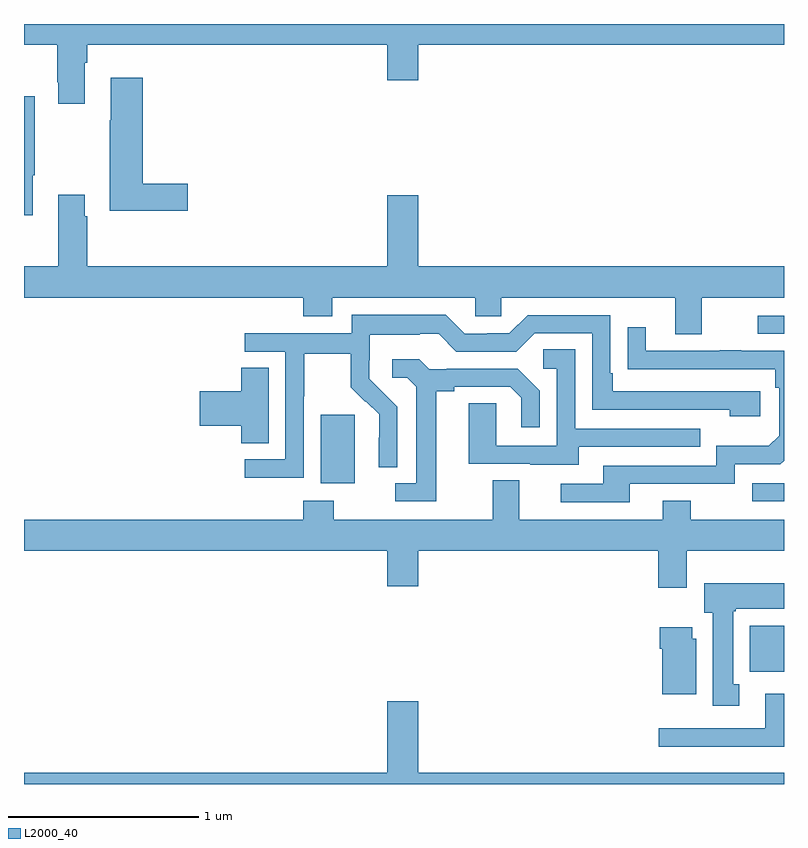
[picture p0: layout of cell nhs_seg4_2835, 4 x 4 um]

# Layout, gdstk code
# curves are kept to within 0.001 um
import gdstk
lib = gdstk.Library(unit=1e-6, precision=1e-09)
def R(c, l, rs):  # rectangles x0, y0, x1, y1
    for r in rs: c.add(gdstk.rectangle(r[:2], r[2:], *l))
def P(c, l, *ps):  # polygons
    for p in ps: c.add(gdstk.Polygon(p, *l))
L2000_40 = (2000, 40)

nhs_seg4_2835 = lib.new_cell('nhs_seg4_2835')
R(nhs_seg4_2835, L2000_40, [(262.82,821.492,263,821.734), (262.833,822.387,263,822.483), (260.561,822.482,260.74,822.843), (262.863,823.269,263,823.365)])
P(nhs_seg4_2835, L2000_40, [(259.321,824.696),(259.334,824.696),(259.334,824.792),(260.912,824.792),(260.912,824.604),(261.076,824.604),(261.076,824.792),(263,824.792),(263,824.9),(259,824.9),(259,824.792),(259.174,824.792),(259.174,824.593),(259.181,824.593),(259.181,824.481),(259.321,824.481)],
  [(259.861,824.06),(259.625,824.06),(259.625,824.617),(259.457,824.617),(259.457,824.393),(259.45,824.393),(259.45,823.918),(259.861,823.918)],
  [(259.045,824.105),(259.057,824.105),(259.057,824.521),(259,824.521),(259,823.893),(259.045,823.893)],
  [(262.567,823.46),(263,823.46),(263,823.624),(261.076,823.624),(261.076,823.999),(260.912,823.999),(260.912,823.624),(259.334,823.624),(259.334,823.889),(259.321,823.889),(259.321,824.002),(259.181,824.002),(259.181,823.624),(259,823.624),(259,823.46),(260.471,823.46),(260.471,823.361),(260.623,823.361),(260.623,823.46),(261.375,823.46),(261.375,823.362),(261.513,823.362),(261.513,823.46),(262.427,823.46),(262.427,823.266),(262.567,823.266)],
  [(260.472,822.94),(260.475,822.94),(260.475,823.164),(260.719,823.164),(260.719,822.989),(260.796,822.912),(260.799,822.915),(260.87,822.845),(260.87,822.722),(260.868,822.722),(260.868,822.568),(260.964,822.568),(260.964,822.886),(260.818,823.034),(260.818,823.131),(260.82,823.131),(260.82,823.265),(261.083,823.265),(261.083,823.269),(261.183,823.269),(261.276,823.176),(261.591,823.176),(261.687,823.272),(261.99,823.272),(261.99,822.87),(262.715,822.87),(262.715,822.836),(262.876,822.836),(262.876,822.966),(262.099,822.966),(262.099,823.063),(262.086,823.063),(262.086,823.368),(261.651,823.368),(261.555,823.272),(261.437,823.272),(261.437,823.269),(261.321,823.269),(261.221,823.369),(260.724,823.369),(260.724,823.272),(260.163,823.272),(260.163,823.176),(260.376,823.176),(260.376,822.609),(260.163,822.609),(260.163,822.511),(260.472,822.511)],
  [(262.189,822.48),(262.74,822.48),(262.74,822.582),(262.98,822.582),(263,822.602),(263,823.179),(262.775,823.179),(262.775,823.184),(262.663,823.184),(262.663,823.179),(262.273,823.179),(262.273,823.303),(262.177,823.303),(262.177,823.084),(262.954,823.083),(262.954,822.986),(262.974,822.986),(262.974,822.732),(262.921,822.679),(262.644,822.679),(262.644,822.576),(262.049,822.576),(262.049,822.48),(261.825,822.48),(261.825,822.384),(262.189,822.384)],
  [(261.919,822.675),(262.559,822.675),(262.559,822.771),(261.9,822.771),(261.9,823.187),(261.732,823.187),(261.732,823.086),(261.804,823.086),(261.804,822.681),(261.486,822.681),(261.486,822.905),(261.341,822.905),(261.341,822.585),(261.665,822.585),(261.665,822.581),(261.919,822.581)],
  [(261.169,822.968),(261.265,822.968),(261.265,822.99),(261.56,822.99),(261.617,822.933),(261.617,822.777),(261.714,822.777),(261.714,822.97),(261.598,823.086),(261.226,823.086),(261.226,823.083),(261.132,823.083),(261.08,823.135),(260.937,823.135),(260.937,823.038),(261.018,823.038),(261.065,822.991),(261.065,822.483),(260.955,822.483),(260.955,822.387),(261.169,822.387)],
  [(260.287,823.091),(260.144,823.091),(260.144,822.968),(259.926,822.968),(259.926,822.785),(260.144,822.785),(260.144,822.694),(260.287,822.694)],
  [(262.489,822.128),(263,822.128),(263,822.292),(262.509,822.292),(262.509,822.391),(262.361,822.391),(262.361,822.292),(261.607,822.292),(261.607,822.5),(261.467,822.5),(261.467,822.292),(260.631,822.292),(260.631,822.391),(260.471,822.391),(260.471,822.292),(259,822.292),(259,822.128),(260.912,822.128),(260.912,821.94),(261.076,821.94),(261.076,822.128),(262.337,822.128),(262.337,821.934),(262.489,821.934)],
  [(262.765,821.426),(262.732,821.426),(262.732,821.809),(262.746,821.809),(262.746,821.822),(263,821.822),(263,821.956),(262.58,821.956),(262.58,821.802),(262.625,821.802),(262.625,821.313),(262.765,821.313)],
  [(262.537,821.664),(262.516,821.664),(262.516,821.725),(262.346,821.725),(262.346,821.612),(262.358,821.612),(262.358,821.372),(262.537,821.372)],
  [(263,821.374),(262.901,821.374),(262.901,821.193),(262.341,821.193),(262.341,821.096),(263,821.096)],
  [(263,820.96),(261.076,820.96),(261.076,821.335),(260.912,821.335),(260.912,820.96),(259,820.96),(259,820.9),(263,820.9)])

lib.write_gds('nhs_seg4_2835.gds')
